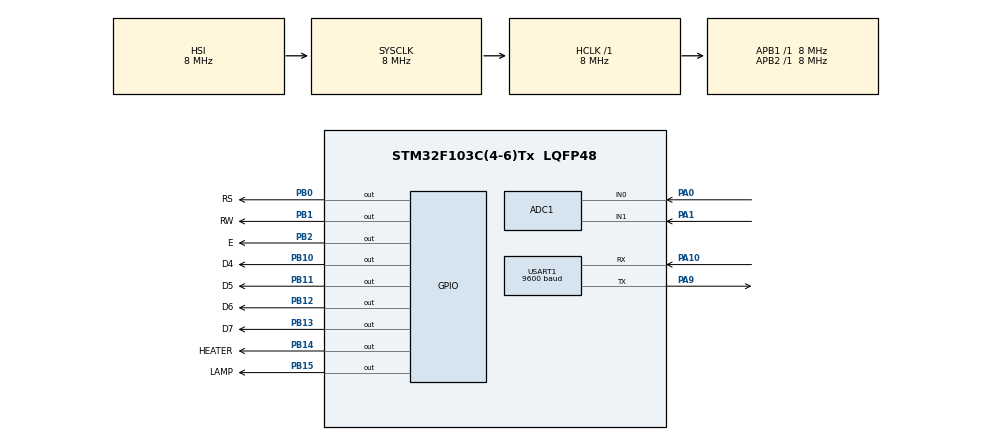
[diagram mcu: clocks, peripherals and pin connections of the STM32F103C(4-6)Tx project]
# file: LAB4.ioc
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ADC1.Channel-0\#ChannelRegularConversion=ADC_CHANNEL_0
ADC1.Channel-1\#ChannelRegularConversion=ADC_CHANNEL_1
ADC1.ContinuousConvMode=DISABLE
ADC1.ExternalTrigConv=ADC_SOFTWARE_START
ADC1.InjNumberOfConversion=0
ADC1.NbrOfConversion=2
ADC1.NbrOfConversionFlag=1
ADC1.Rank-0\#ChannelRegularConversion=1
ADC1.Rank-1\#ChannelRegularConversion=2
ADC1.SamplingTime-0\#ChannelRegularConversion=ADC_SAMPLETIME_239CYCLES_5
ADC1.SamplingTime-1\#ChannelRegularConversion=ADC_SAMPLETIME_239CYCLES_5
ADC1.master=1
Dma.ADC1.0.Direction=DMA_PERIPH_TO_MEMORY
Dma.ADC1.0.Instance=DMA1_Channel1
Dma.ADC1.0.MemDataAlignment=DMA_MDATAALIGN_WORD
Dma.ADC1.0.MemInc=DMA_MINC_ENABLE
Dma.ADC1.0.Mode=DMA_CIRCULAR
Dma.ADC1.0.PeriphDataAlignment=DMA_PDATAALIGN_WORD
Dma.ADC1.0.PeriphInc=DMA_PINC_DISABLE
Dma.ADC1.0.Priority=DMA_PRIORITY_LOW
Dma.Request0=ADC1
Mcu.Family=STM32F1
Mcu.Name=STM32F103C(4-6)Tx
Mcu.Package=LQFP48
NVIC.ADC1_2_IRQn=true\:3\:0\:true\:false\:true\:true\:true
NVIC.DMA1_Channel1_IRQn=true\:2\:0\:true\:false\:true\:false\:true
NVIC.PriorityGroup=NVIC_PRIORITYGROUP_4
NVIC.USART1_IRQn=true\:1\:0\:true\:false\:true\:true\:true
PA0-WKUP.Signal=ADCx_IN0
PA1.Signal=ADCx_IN1
PA10.Mode=Asynchronous
PA10.Signal=USART1_RX
PA9.Mode=Asynchronous
PA9.Signal=USART1_TX
PB0.GPIO_Label=RS
PB0.GPIO_Speed=GPIO_SPEED_FREQ_HIGH
PB0.Signal=GPIO_Output
PB1.GPIO_Label=RW
PB1.GPIO_Speed=GPIO_SPEED_FREQ_HIGH
PB1.Signal=GPIO_Output
PB10.GPIO_Label=D4
PB10.GPIO_Speed=GPIO_SPEED_FREQ_HIGH
PB10.Signal=GPIO_Output
PB11.GPIO_Label=D5
PB11.GPIO_Speed=GPIO_SPEED_FREQ_HIGH
PB11.Signal=GPIO_Output
PB12.GPIO_Label=D6
PB12.GPIO_Speed=GPIO_SPEED_FREQ_HIGH
PB12.Signal=GPIO_Output
PB13.GPIO_Label=D7
PB13.GPIO_Speed=GPIO_SPEED_FREQ_HIGH
PB13.Signal=GPIO_Output
PB14.GPIO_Label=HEATER
PB14.GPIO_Speed=GPIO_SPEED_FREQ_HIGH
PB14.Signal=GPIO_Output
PB15.GPIO_Label=LAMP
PB15.GPIO_Speed=GPIO_SPEED_FREQ_HIGH
PB15.Signal=GPIO_Output
PB2.GPIO_Label=E
PB2.GPIO_Speed=GPIO_SPEED_FREQ_HIGH
PB2.Signal=GPIO_Output
ProjectManager.HeapSize=0x200
ProjectManager.StackSize=0x400
ProjectManager.TargetToolchain=MDK-ARM V5
RCC.AHBFreq_Value=8000000
RCC.APB1Freq_Value=8000000
RCC.APB1TimFreq_Value=8000000
RCC.APB2Freq_Value=8000000
RCC.APB2TimFreq_Value=8000000
RCC.HCLKFreq_Value=8000000
RCC.PLLMUL=RCC_PLL_MUL16
RCC.SYSCLKFreq_VALUE=8000000
RCC.USBFreq_Value=64000000
SH.ADCx_IN0.0=ADC1_IN0,IN0
SH.ADCx_IN1.0=ADC1_IN1,IN1
USART1.BaudRate=9600
USART1.VirtualMode=VM_ASYNC
VP_SYS_VS_ND.Mode=No_Debug
board=custom

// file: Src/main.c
/* USER CODE BEGIN Header */
/**
  ******************************************************************************
  * @file           : main.c
  * @brief          : Main program body
  ******************************************************************************
  * @attention
  *
  * <h2><center>&copy; Copyright (c) 2020 STMicroelectronics.
  * All rights reserved.</center></h2>
  *
  * This software component is licensed by ST under BSD 3-Clause license,
  * the "License"; You may not use this file except in compliance with the
  * License. You may obtain a copy of the License at:
  *                        opensource.org/licenses/BSD-3-Clause
  *
  ******************************************************************************
  */
/* USER CODE END Header */

#include "main.h"
#include "adc.h"
#include "dma.h"
#include "usart.h"
#include "gpio.h"

/* USER CODE BEGIN Includes */
#include "math.h"
#include "string.h"
#include "stdio.h"
#include "LCD.h"
/* USER CODE END Includes */

/* USER CODE BEGIN PD */
#define Manual 0
#define Auto 1
/* USER CODE END PD */

/* USER CODE BEGIN PM */
LCD_STRUCT lcd_setup;
/* USER CODE END PM */

/* USER CODE BEGIN PV */
uint32_t adcBuffer[2];
uint8_t Rx_Buffer[100];
uint8_t Mode = Auto, HEAT_STATE = 0, LAMP_STATE = 0;
float Temp, Lux;
/* USER CODE END PV */

void SystemClock_Config(void);
/* USER CODE BEGIN PFP */
void Parse_AT_Command(void);
/* USER CODE END PFP */

int main(void)
{

  /* MCU Configuration--------------------------------------------------------*/

  /* Reset of all peripherals, Initializes the Flash interface and the Systick. */
  HAL_Init();

  /* Configure the system clock */
  SystemClock_Config();

  /* Initialize all configured peripherals */
  MX_GPIO_Init();
  MX_DMA_Init();
  MX_ADC1_Init();
  MX_USART1_UART_Init();
  /* USER CODE BEGIN 2 */
	// Initializing LCD
	lcd_setup.RS_PORT =  RS_GPIO_Port;
	lcd_setup.RS_PIN = RS_Pin;

	lcd_setup.RW_PORT =  RW_GPIO_Port;
	lcd_setup.RW_PIN = RW_Pin;

	lcd_setup.EN_PORT =  E_GPIO_Port;
	lcd_setup.EN_PIN = E_Pin;

	lcd_setup.D4_PORT =  D4_GPIO_Port;
	lcd_setup.D4_PIN = D4_Pin;

	lcd_setup.D5_PORT =  D5_GPIO_Port;
	lcd_setup.D5_PIN = D5_Pin;

	lcd_setup.D6_PORT =  D6_GPIO_Port;
	lcd_setup.D6_PIN = D6_Pin;

	lcd_setup.D7_PORT =  D7_GPIO_Port;
	lcd_setup.D7_PIN = D7_Pin;

	lcd_setup.Port_Count = 4; // 8 or 4 Pins
	lcd_setup.No_Of_Lines = 2; // 1 or 2 Lines
	lcd_setup.Font = 8;//8 or 10// 5*10 or 5*8 Font
	lcd_setup.Blink = 0;// Turn Blinking Cursor On or Off
	lcd_setup.Cursor = 0;// Turn Cursor On or Off

	LCD_Init(&lcd_setup);

	// RUN UART in interrupt mode
	HAL_UART_Receive_IT(&huart1, Rx_Buffer, 100);

  /* USER CODE END 2 */

  /* Infinite loop */
  /* USER CODE BEGIN WHILE */
  while (1)
  {
			// check the incoming command
			Parse_AT_Command();

			// START ADC DMA
		  // Didn't use continious mode and dma circular beause Proteus Couldn't simulate
			HAL_ADC_Start_DMA(&hadc1,adcBuffer, 2);

			// check for Temperature in Auto Mode
			if(Mode == Auto && Temp < 20.0)
			{
				HAL_GPIO_WritePin(HEATER_GPIO_Port, HEATER_Pin, GPIO_PIN_SET);
				HEAT_STATE = 1;
			}
			else if(Mode == Auto && Temp > 24.0)
			{
				HAL_GPIO_WritePin(HEATER_GPIO_Port, HEATER_Pin, GPIO_PIN_RESET);
				HEAT_STATE = 0;
			}

			// check for LUX in Auto Mode
			if(Mode == Auto && Lux < 400.0)
			{
				HAL_GPIO_WritePin(LAMP_GPIO_Port, LAMP_Pin, GPIO_PIN_SET);
				LAMP_STATE = 1;
			}
			else if(Mode == Auto && Lux > 500.0)
			{
				HAL_GPIO_WritePin(LAMP_GPIO_Port, LAMP_Pin, GPIO_PIN_RESET);
				LAMP_STATE = 0;
			}

    /* USER CODE END WHILE */

  }
}

void SystemClock_Config(void)
{
  RCC_OscInitTypeDef RCC_OscInitStruct = {0};
  RCC_ClkInitTypeDef RCC_ClkInitStruct = {0};
  RCC_PeriphCLKInitTypeDef PeriphClkInit = {0};

  /** Initializes the CPU, AHB and APB busses clocks
  */
  RCC_OscInitStruct.OscillatorType = RCC_OSCILLATORTYPE_HSI;
  RCC_OscInitStruct.HSIState = RCC_HSI_ON;
  RCC_OscInitStruct.HSICalibrationValue = RCC_HSICALIBRATION_DEFAULT;
  RCC_OscInitStruct.PLL.PLLState = RCC_PLL_NONE;
  if (HAL_RCC_OscConfig(&RCC_OscInitStruct) != HAL_OK)
  {
    Error_Handler();
  }
  /** Initializes the CPU, AHB and APB busses clocks
  */
  RCC_ClkInitStruct.ClockType = RCC_CLOCKTYPE_HCLK|RCC_CLOCKTYPE_SYSCLK
                              |RCC_CLOCKTYPE_PCLK1|RCC_CLOCKTYPE_PCLK2;
  RCC_ClkInitStruct.SYSCLKSource = RCC_SYSCLKSOURCE_HSI;
  RCC_ClkInitStruct.AHBCLKDivider = RCC_SYSCLK_DIV1;
  RCC_ClkInitStruct.APB1CLKDivider = RCC_HCLK_DIV1;
  RCC_ClkInitStruct.APB2CLKDivider = RCC_HCLK_DIV1;

  if (HAL_RCC_ClockConfig(&RCC_ClkInitStruct, FLASH_LATENCY_0) != HAL_OK)
  {
    Error_Handler();
  }
  PeriphClkInit.PeriphClockSelection = RCC_PERIPHCLK_ADC;
  PeriphClkInit.AdcClockSelection = RCC_ADCPCLK2_DIV2;
  if (HAL_RCCEx_PeriphCLKConfig(&PeriphClkInit) != HAL_OK)
  {
    Error_Handler();
  }
}

/* USER CODE BEGIN 4 */

// Decode the incomig command
void Parse_AT_Command(void)
{
	char URAT_OutPut[17];
	// Checks Command only after enter(\r\n) pressed
	if(Rx_Buffer[strlen((const char*)Rx_Buffer) - 1] == '\n' || Rx_Buffer[strlen((const char*)Rx_Buffer) - 1] == '\r')
	{
		// Stop Receiving from UART
		HAL_UART_AbortReceive_IT(&huart1);
		// Using strncmp to compare input commad with setted commands
		if(strncmp((const char*)Rx_Buffer,"AT_GetMode",strlen("AT_GetMode")) == 0)
		{
			if(Mode == Auto)
				HAL_UART_Transmit(&huart1,(unsigned char*)"Auto\r\n", strlen("Auto\r\n"),HAL_MAX_DELAY);
			else
				HAL_UART_Transmit(&huart1,(unsigned char*)"Manual\r\n", strlen("Manual\r\n"),HAL_MAX_DELAY);
		}
		else if(strncmp((const char*)Rx_Buffer,"AT_GetIllumination",strlen("AT_GetIllumination")) == 0)
		{
			sprintf(URAT_OutPut,"%u\r\n",(uint16_t)Lux);
			HAL_UART_Transmit(&huart1,(unsigned char*)URAT_OutPut, strlen(URAT_OutPut),HAL_MAX_DELAY);
		}
		else if(strncmp((const char*)Rx_Buffer,"AT_GetTemperature",strlen("AT_GetTemperature")) == 0)
		{
			sprintf(URAT_OutPut,"%u\r\n",(uint16_t)Temp);
			HAL_UART_Transmit(&huart1,(unsigned char*)URAT_OutPut, strlen(URAT_OutPut),HAL_MAX_DELAY);
		}
		else if(strncmp((const char*)Rx_Buffer,"AT_GetStats_Heater",strlen("AT_GetStats_Heater")) == 0)
		{
			if ( HEAT_STATE == 1)
				HAL_UART_Transmit(&huart1,(unsigned char*)"On\r\n", strlen("On\r\n"),HAL_MAX_DELAY);
			else
				HAL_UART_Transmit(&huart1,(unsigned char*)"Off\r\n", strlen("Off\r\n"),HAL_MAX_DELAY);
		}
		else if(strncmp((const char*)Rx_Buffer,"AT_GetStats_Lamp",strlen("AT_GetStats_Lamp")) == 0)
		{
			if ( LAMP_STATE == 1)
				HAL_UART_Transmit(&huart1,(unsigned char*)"On\r\n", strlen("On\r\n"),HAL_MAX_DELAY);
			else
				HAL_UART_Transmit(&huart1,(unsigned char*)"Off\r\n", strlen("Off\r\n"),HAL_MAX_DELAY);
		}
		else if(strncmp((const char*)Rx_Buffer,"AT_SetMode_Auto",strlen("AT_SetMode_Auto")) == 0)
		{
			Mode = Auto;
			HAL_UART_Transmit(&huart1,(unsigned char*)"Mode Set to Auto\r\n", strlen("Mode Set to Auto\r\n"),HAL_MAX_DELAY);
		}
		else if(strncmp((const char*)Rx_Buffer,"AT_SetMode_Manual",strlen("AT_SetMode_Manual")) == 0)
		{
			Mode = Manual;
			HAL_UART_Transmit(&huart1,(unsigned char*)"Mode Set to Manual\r\n", strlen("Mode Set to Manual\r\n"),HAL_MAX_DELAY);
		}
		else if(strncmp((const char*)Rx_Buffer,"AT_TurnOff_Heater",strlen("AT_TurnOff_Heater")) == 0)
		{
			// Before changing output checks if mode is manual
			if(Mode == Manual)
			{
				HAL_GPIO_WritePin(HEATER_GPIO_Port, HEATER_Pin, GPIO_PIN_RESET);
				HEAT_STATE = 0;
				HAL_UART_Transmit(&huart1,(unsigned char*)"Heater Turned Off\r\n", strlen("Heater Turned Off\r\n"),HAL_MAX_DELAY);
			}
			else
				HAL_UART_Transmit(&huart1,(unsigned char*)"MODE IS NOT MANUAL\r\n", strlen("MODE IS NOT MANUAL\r\n"),HAL_MAX_DELAY);
		}
		else if(strncmp((const char*)Rx_Buffer,"AT_TurnOff_Lamp",strlen("AT_TurnOff_Lamp")) == 0)
		{
			// Before changing output checks if mode is manual
			if(Mode == Manual)
			{
			HAL_GPIO_WritePin(LAMP_GPIO_Port, LAMP_Pin, GPIO_PIN_RESET);
			LAMP_STATE = 0;
			HAL_UART_Transmit(&huart1,(unsigned char*)"Lamp Turned Off\r\n", strlen("Lamp Turned Off\r\n"),HAL_MAX_DELAY);
			}
			else
				HAL_UART_Transmit(&huart1,(unsigned char*)"MODE IS NOT MANUAL\r\n", strlen("MODE IS NOT MANUAL\r\n"),HAL_MAX_DELAY);
		}
		else if(strncmp((const char*)Rx_Buffer,"AT_TurnOn_Heater",strlen("AT_TurnOn_Heater")) == 0)
		{
			// Before changing output checks if mode is manual
			if(Mode == Manual)
			{
			HAL_GPIO_WritePin(HEATER_GPIO_Port, HEATER_Pin, GPIO_PIN_SET);
			HEAT_STATE = 1;
			HAL_UART_Transmit(&huart1,(unsigned char*)"Heater Turned On\r\n", strlen("Heater Turned On\r\n"),HAL_MAX_DELAY);
			}
			else
				HAL_UART_Transmit(&huart1,(unsigned char*)"MODE IS NOT MANUAL\r\n", strlen("MODE IS NOT MANUAL\r\n"),HAL_MAX_DELAY);
		}
		else if(strncmp((const char*)Rx_Buffer,"AT_TurnOn_Lamp",strlen("AT_TurnOn_Lamp")) == 0)
		{
			// Before changing output checks if mode is manual
			if(Mode == Manual)
			{
			HAL_GPIO_WritePin(LAMP_GPIO_Port, LAMP_Pin, GPIO_PIN_SET);
			LAMP_STATE = 1;
			HAL_UART_Transmit(&huart1,(unsigned char*)"Lamp Turned On\r\n", strlen("Lamp Turned On\r\n"),HAL_MAX_DELAY);
			}
			else
				HAL_UART_Transmit(&huart1,(unsigned char*)"MODE IS NOT MANUAL\r\n", strlen("MODE IS NOT MANUAL\r\n"),HAL_MAX_DELAY);
		}
		else
		{
			// In case of not valid input
			HAL_UART_Transmit(&huart1,(unsigned char*)"UNKNOWN COMMAND\r\n", strlen("UNKNOWN COMMAND\r\n"),HAL_MAX_DELAY);
		}

		// Empty Buffer
		for(int i =0 ; i < 100; i++)
			Rx_Buffer[i] = 0;
		// ReStart Receiving from UART
		HAL_UART_Receive_IT(&huart1, Rx_Buffer, 100);
	}
}

// ReRun UART if Buffer is Full
void HAL_UART_RxCpltCallback(UART_HandleTypeDef *huart)
{
		HAL_UART_Receive_IT(&huart1, Rx_Buffer, 100);
}

// Print Data On LCD in each ADC Convert Complete
void HAL_ADC_ConvCpltCallback(ADC_HandleTypeDef* hadc)
{
	char LCD_String[17];
	// convert adc value to temp
	Temp = adcBuffer[1] * 330 / 4095;
	// convert adc value to lux
	Lux = 630 / pow(((4504.5 / adcBuffer[0]) - 1.1),1.25);

	sprintf(LCD_String,"T = %5u DEG", (uint16_t)Temp);
	LCD_SetCursor(&lcd_setup,0,0);
	LCD_PutString(&lcd_setup,LCD_String);

	sprintf(LCD_String,"I = %5u LUX", (uint16_t)Lux);
	LCD_SetCursor(&lcd_setup,1,0);
	LCD_PutString(&lcd_setup,LCD_String);
}
/* USER CODE END 4 */

void Error_Handler(void)
{
}

/************************ (C) COPYRIGHT STMicroelectronics *****END OF FILE****/
